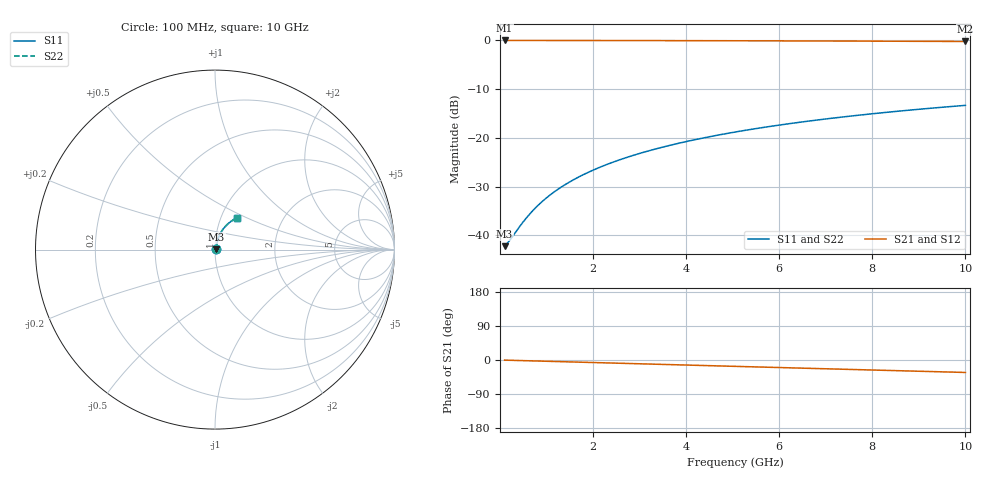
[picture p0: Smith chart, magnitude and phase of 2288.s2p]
# Hz S RI R 50.00
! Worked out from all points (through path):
!   100 points, 100 MHz to 10 GHz, reference 50 ohm
!   highest |S21| = -0.06 dB at 100 MHz (marker M1); lowest = -0.3 dB at 10 GHz (marker M2)
!   group delay of S21, straight-line fit = 9.14 ps
!   lowest |S11| = -42.2 dB at 100 MHz (marker M3), VSWR 1.02, Z = 50.7 + j0.229 ohm
!   |S11| at or under -10 dB: start of sweep to end of sweep
!   |S22| runs from -42.2 to -13.4 dB; largest |S21 - S12| = 0
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1e8  0.00741 0.00226  0.9926 -0.00577  0.9926 -0.00577  0.00741 0.00226
2e8  0.0075 0.00452  0.9925 -0.0115  0.9925 -0.0115  0.0075 0.00452
4e8  0.00772 0.00903  0.9922 -0.0231  0.9922 -0.0231  0.00772 0.00903
5e8  0.00786 0.0113  0.992 -0.0289  0.992 -0.0289  0.00786 0.0113
6e8  0.00803 0.0135  0.9917 -0.0346  0.9917 -0.0346  0.00803 0.0135
7e8  0.00822 0.0158  0.9915 -0.0404  0.9915 -0.0404  0.00822 0.0158
9e8  0.00867 0.0203  0.9908 -0.0519  0.9908 -0.0519  0.00867 0.0203
1.1e9  0.00922 0.0248  0.99 -0.0634  0.99 -0.0634  0.00922 0.0248
1.3e9  0.00988 0.0292  0.989 -0.0749  0.989 -0.0749  0.00988 0.0292
1.5e9  0.0106 0.0337  0.9879 -0.0864  0.9879 -0.0864  0.0106 0.0337
1.8e9  0.012 0.0403  0.986 -0.1036  0.986 -0.1036  0.012 0.0403
2.1e9  0.0135 0.0469  0.9837 -0.1207  0.9837 -0.1207  0.0135 0.0469
2.5e9  0.0159 0.0556  0.9801 -0.1434  0.9801 -0.1434  0.0159 0.0556
2.9e9  0.0187 0.0641  0.9759 -0.166  0.9759 -0.166  0.0187 0.0641
3.4e9  0.0228 0.0746  0.9699 -0.194  0.9699 -0.194  0.0228 0.0746
4.2e9  0.0305 0.0908  0.9583 -0.2383  0.9583 -0.2383  0.0305 0.0908
5.1e9  0.041 0.108  0.9427 -0.287  0.9427 -0.287  0.041 0.108
5.9e9  0.0516 0.1222  0.9264 -0.3293  0.9264 -0.3293  0.0516 0.1222
6.7e9  0.0635 0.1354  0.9082 -0.3704  0.9082 -0.3704  0.0635 0.1354
7.5e9  0.0765 0.1473  0.888 -0.4103  0.888 -0.4103  0.0765 0.1473
8.4e9  0.0922 0.1592  0.8631 -0.4535  0.8631 -0.4535  0.0922 0.1592
1e10  0.1227 0.1761  0.8137 -0.5258  0.8137 -0.5258  0.1227 0.1761
